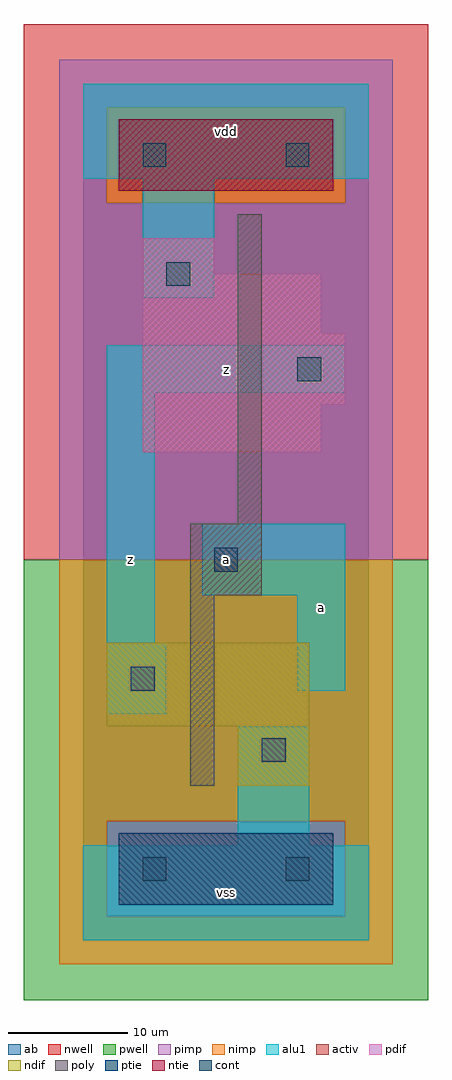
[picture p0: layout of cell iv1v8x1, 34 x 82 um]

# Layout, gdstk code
import gdstk
lib = gdstk.Library(unit=1e-6, precision=1e-09)
def R(c, l, rs):  # rectangles x0, y0, x1, y1
    for r in rs: c.add(gdstk.rectangle(r[:2], r[2:], *l))
ndif = (3, 0)
pdif = (4, 0)
ntie = (5, 0)
ptie = (6, 0)
cont = (25, 0)
pwell = (41, 0)
nwell = (42, 0)
activ = (43, 0)
pimp = (44, 0)
nimp = (45, 0)
poly = (46, 0)
alu1 = (49, 0)
ab = (63, 0)

iv1v8x1 = lib.new_cell('iv1v8x1')
R(iv1v8x1, ndif, [(13,13,19,18), (2,18,19,25)])
R(iv1v8x1, pdif, [(5,41,20,45), (5,45,22,51), (5,51,20,56), (5,56,11,59)])
R(iv1v8x1, ntie, [(3,63,21,69)])
R(iv1v8x1, ptie, [(3,3,21,9)])
R(iv1v8x1, cont, [(5,5,7,7), (17,5,19,7), (15,15,17,17), (4,21,6,23), (11,31,13,33), (18,47,20,49), (7,55,9,57), (5,65,7,67), (17,65,19,67)])
R(iv1v8x1, pwell, [(-5,-5,29,32)])
R(iv1v8x1, nwell, [(-5,32,29,77)])
R(iv1v8x1, activ, [(3,3,21,9), (13,13,19,18), (2,18,19,25), (5,41,20,45), (5,45,22,51), (5,51,20,56), (5,56,11,59), (3,63,21,69)])
R(iv1v8x1, pimp, [(2,2,22,10), (-2,32,26,62), (-2,62,2,70), (22,62,26,70), (-2,70,26,74)])
R(iv1v8x1, nimp, [(-2,-2,26,2), (-2,2,2,10), (22,2,26,10), (-2,10,26,32), (2,62,22,70)])
R(iv1v8x1, poly, [(9,13,11,29), (9,29,15,35), (13,35,15,61)])
R(iv1v8x1, alu1, [(0,0,24,8), (13,8,19,18), (2,19,7,25), (18,21,22,29), (2,25,6,46), (10,29,22,35), (2,46,22,50), (5,54,11,64), (0,64,24,72)])
R(iv1v8x1, ab, [(0,0,24,72)])
iv1v8x1.add(gdstk.Label('z', (4,32), layer=49, texttype=0))
iv1v8x1.add(gdstk.Label('vss', (12,4), layer=49, texttype=0))
iv1v8x1.add(gdstk.Label('a', (12,32), layer=49, texttype=0))
iv1v8x1.add(gdstk.Label('z', (12,48), layer=49, texttype=0))
iv1v8x1.add(gdstk.Label('vdd', (12,68), layer=49, texttype=0))
iv1v8x1.add(gdstk.Label('a', (20,28), layer=49, texttype=0))

lib.write_gds('iv1v8x1.gds')
